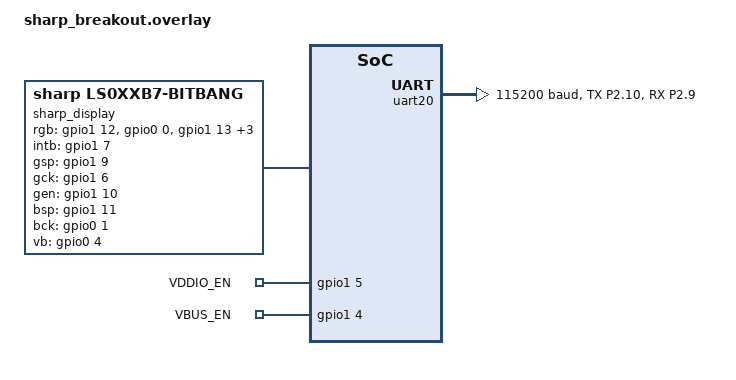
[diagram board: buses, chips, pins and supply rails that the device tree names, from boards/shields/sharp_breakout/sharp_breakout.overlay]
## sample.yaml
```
sample:
  description: Example application with the Sharp LS0XXB7 display, bit-bang driver and the nRF54l15dk shield.
  name: sharp-ls0xxb7-bitbang-example
common:
  sysbuild: true
  build_only: true
  integration_platforms:
    - nrf54l15dk/nrf54l15/cpuapp
tests:
  app.default: {}
```

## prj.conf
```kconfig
# Copyright (c) 2021 Nordic Semiconductor ASA
# SPDX-License-Identifier: Apache-2.0
#
# This file contains selected Kconfig options for the application.

CONFIG_GPIO=y

CONFIG_DISPLAY=y
CONFIG_DISPLAY_LOG_LEVEL_DBG=y

CONFIG_SHARP_LS0XXB7_BITBANG=y

CONFIG_MAIN_STACK_SIZE=4096

# RTT.
CONFIG_RTT_CONSOLE=y
CONFIG_USE_SEGGER_RTT=y
CONFIG_LOG=y
CONFIG_LOG_BACKEND_RTT=y

# LVGL.
CONFIG_LVGL=y
CONFIG_LV_Z_MEM_POOL_SIZE=16384
CONFIG_LV_USE_LOG=y
CONFIG_LV_LOG_LEVEL_ERROR=y
CONFIG_LV_USE_LABEL=y
CONFIG_LV_USE_ARC=y
CONFIG_LV_USE_MONKEY=y
CONFIG_LV_FONT_DEFAULT_MONTSERRAT_24=y

CONFIG_LV_USE_SYSMON=y
CONFIG_LV_USE_PERF_MONITOR=y
CONFIG_LV_PERF_MONITOR_ALIGN_CENTER=y

#
# Uncomment for 16-bit color.
#
CONFIG_LV_COLOR_DEPTH_16=y
CONFIG_LV_Z_BITS_PER_PIXEL=16

#
# Uncomment for monochrome mode.
#
# CONFIG_LV_Z_BITS_PER_PIXEL=1
# CONFIG_SHARP_LS0XXB7_DISPLAY_MODE_MONOCHROME=y

# Causes LVGL to keep the full screen buffer in RAM.
# CONFIG_LV_Z_FULL_REFRESH=y
```

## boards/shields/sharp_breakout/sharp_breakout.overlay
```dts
/delete-node/ &pwm20;

/delete-node/ &uart30;

/delete-node/ &spi00;

/delete-node/ &pwm_led1;

&pinctrl {
	/delete-node/ spi00_default;
	/delete-node/ spi00_sleep;
	/delete-node/ uart30_default;
	/delete-node/ uart30_sleep;
	/delete-node/ pwm20_default;
	/delete-node/ pwm20_sleep;

	/omit-if-no-ref/ uart20_default: uart20_default {
		group1 {
			psels = <NRF_PSEL(UART_TX, 2, 10)>;
		};
		group2 {
			psels = <NRF_PSEL(UART_RX, 2, 9)>;
			bias-pull-up;
		};
	};

	/omit-if-no-ref/ uart20_sleep: uart20_sleep {
		group1 {
			psels = <NRF_PSEL(UART_TX, 2, 10)>,
							<NRF_PSEL(UART_RX, 2, 9)>;
			low-power-enable;
		};
	};
};

&uart20 {
	current-speed = <115200>;
	pinctrl-0 = <&uart20_default>;
	pinctrl-1 = <&uart20_sleep>;
	pinctrl-names = "default", "sleep";
};

/ {

	chosen {
		zephyr,display = &sharp_display;
	};

	sharp_display: sharp_ls0xxb7_bitbang {
		compatible = "sharp,ls0xxb7-bitbang";
		status = "okay";
		height = <280>;
		width = <280>;
		rgb-gpios =
								<&gpio1 12 GPIO_ACTIVE_HIGH>,
								<&gpio0 0 GPIO_ACTIVE_HIGH>,  // r1 [1]
								<&gpio1 13 GPIO_ACTIVE_HIGH>, // g0 [2]
								<&gpio0 3 GPIO_ACTIVE_HIGH>,  // g1 [3]
								<&gpio1 14 GPIO_ACTIVE_HIGH>, // b0 [4]
								<&gpio0 2 GPIO_ACTIVE_HIGH>;  // b1 [5]
								intb-gpios = <&gpio1 7 GPIO_ACTIVE_HIGH>;
		gsp-gpios = <&gpio1 9 GPIO_ACTIVE_HIGH>;
		gck-gpios = <&gpio1 6 GPIO_ACTIVE_HIGH>;
		gen-gpios = <&gpio1 10 GPIO_ACTIVE_HIGH>;
		bsp-gpios = <&gpio1 11 GPIO_ACTIVE_HIGH>;
		bck-gpios = <&gpio0 1 GPIO_ACTIVE_HIGH>;
		vb-gpios = <&gpio0 4 GPIO_ACTIVE_HIGH>;
		va-gpios = <&gpio1 8 GPIO_ACTIVE_HIGH>;
		vcom-freq = <30>;
	};
	/delete-node/ aliases;


	leds {
		compatible = "gpio-leds";
		vddio_en: vddio_en {
			gpios = <&gpio1 5 GPIO_ACTIVE_HIGH>;
			label = "VDDIO_EN";
		};

		vbus_en: vbus_en {
			gpios = <&gpio1 4 GPIO_ACTIVE_HIGH>;
			label = "VBUS_EN";
		};
	};
};
```

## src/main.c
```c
#include <lvgl.h>
#include <lvgl_display.h>
#include <stdio.h>
#include <zephyr/device.h>
#include <zephyr/drivers/display.h>
#include <zephyr/drivers/gpio.h>
#include <zephyr/dt-bindings/gpio/nordic-nrf-gpio.h>
#include <zephyr/kernel.h>
#include <zephyr/logging/log.h>

LOG_MODULE_REGISTER(main, CONFIG_DISPLAY_LOG_LEVEL);

#define DISPLAY_NODE DT_CHOSEN(zephyr_display)
#define WIDTH DT_PROP(DISPLAY_NODE, width)
#define HEIGHT DT_PROP(DISPLAY_NODE, height)

static const struct device *display_dev =
    DEVICE_DT_GET(DT_CHOSEN(zephyr_display));

static const struct gpio_dt_spec vddio_en =
    GPIO_DT_SPEC_GET(DT_NODELABEL(vddio_en), gpios);
static const struct gpio_dt_spec vbus_en =
    GPIO_DT_SPEC_GET(DT_NODELABEL(vbus_en), gpios);

static const struct gpio_dt_spec led0 =
    GPIO_DT_SPEC_GET(DT_NODELABEL(led0), gpios);

// The display does support partial updates, but only at full rows. I.e. we can
// start drawing at arbitrary y up to arbitrary height, but only at x0 = x0 and
// x1 = WIDTH - 1.
static void my_lvgl_rounder_cb(lv_event_t *e) {
  lv_area_t *area = lv_event_get_param(e);
  area->x1 = 0;
  area->x2 = WIDTH - 1;
}

int main(void) {
  gpio_pin_configure_dt(&vddio_en, GPIO_OUTPUT_HIGH);
  gpio_pin_configure_dt(&vbus_en, GPIO_OUTPUT_HIGH);
  gpio_pin_configure_dt(&led0, GPIO_OUTPUT);

  // Set up the area rounder.
  lv_display_t *display = lv_disp_get_default();
  lv_display_add_event_cb(display, my_lvgl_rounder_cb, LV_EVENT_INVALIDATE_AREA,
                          display);

  // Power up.
  gpio_pin_set_dt(&vddio_en, 1);
  k_busy_wait(1000);
  gpio_pin_set_dt(&vbus_en, 1);
  k_busy_wait(1000);

  if (!device_is_ready(display_dev)) {
    LOG_ERR("Device not ready, aborting test");
    return 0;
  }

  lv_obj_t *scr = lv_scr_act();

  static lv_style_t style_bg_white;
  lv_style_init(&style_bg_white);
  lv_style_set_bg_color(&style_bg_white, lv_color_white());
  lv_style_set_bg_opa(&style_bg_white, LV_OPA_COVER);
  lv_obj_add_style(scr, &style_bg_white, LV_PART_MAIN);

  // Square.
  lv_obj_t *square = lv_obj_create(scr);
  lv_obj_set_style_bg_opa(square, LV_OPA_COVER, LV_PART_MAIN);
  lv_obj_set_size(square, WIDTH, 40);
  lv_obj_set_style_border_color(square, lv_color_white(), LV_PART_MAIN);
  lv_obj_align(square, LV_ALIGN_TOP_MID, 0, 0);

  // Text.
  lv_obj_t *label = lv_label_create(scr);
  lv_label_set_long_mode(label, LV_LABEL_LONG_WRAP);
  lv_label_set_text(label, "Hello, world");
  lv_obj_align(label, LV_ALIGN_BOTTOM_MID, 0, -64);

#if CONFIG_SHARP_LS0XXB7_DISPLAY_MODE_MONOCHROME
  lv_obj_set_style_bg_color(square, lv_color_black(), LV_PART_MAIN);
#elif CONFIG_SHARP_LS0XXB7_DISPLAY_MODE_COLOR
  // Paint background white.

  // Square.
  static lv_style_t style;
  lv_style_init(&style);
  lv_style_set_bg_color(&style, lv_color_hex(0x00ff00));
  lv_obj_add_style(square, &style, LV_PART_MAIN);

  // Paint text red.
  static lv_style_t style_red;
  lv_style_init(&style_red);
  lv_style_set_text_color(&style_red, lv_color_hex(0xff0000));
  lv_obj_add_style(label, &style_red, LV_PART_MAIN);
#endif  // CONFIG_SHARP_LS0XXB7_DISPLAY_MODE_COLOR

  int y = 0;
  while (1) {
    lv_task_handler();
    k_msleep(1);

    lv_obj_set_y(square, y++ % (HEIGHT - 40));
  }

  return 0;
}
```
